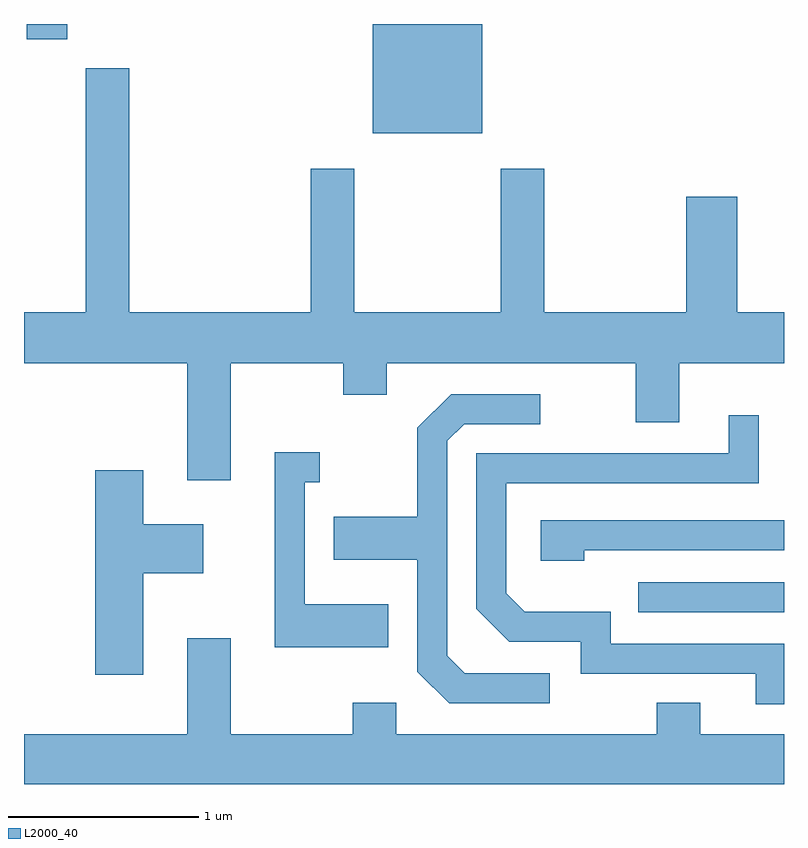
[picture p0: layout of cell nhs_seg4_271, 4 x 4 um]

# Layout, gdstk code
import gdstk
lib = gdstk.Library(unit=1e-6, precision=1e-09)
def R(c, l, rs):  # rectangles x0, y0, x1, y1
    for r in rs: c.add(gdstk.rectangle(r[:2], r[2:], *l))
def P(c, l, *ps):  # polygons
    for p in ps: c.add(gdstk.Polygon(p, *l))
L2000_40 = (2000, 40)

nhs_seg4_271 = lib.new_cell('nhs_seg4_271')
R(nhs_seg4_271, L2000_40, [(194.843,1388.886,195.611,1389.044), (193.446,1391.406,194.024,1391.982), (191.626,1391.901,191.839,1391.982)])
P(nhs_seg4_271, L2000_40, [(192.699,1390.196),(193.291,1390.196),(193.291,1390.031),(193.519,1390.031),(193.519,1390.196),(194.831,1390.196),(194.831,1389.886),(195.059,1389.886),(195.059,1390.196),(195.611,1390.196),(195.611,1390.464),(195.364,1390.464),(195.364,1391.074),(195.096,1391.074),(195.096,1390.464),(194.349,1390.464),(194.349,1391.219),(194.121,1391.219),(194.121,1390.464),(193.349,1390.464),(193.349,1391.219),(193.121,1391.219),(193.121,1390.464),(192.164,1390.464),(192.164,1391.749),(191.936,1391.749),(191.936,1390.464),(191.611,1390.464),(191.611,1390.196),(192.471,1390.196),(192.471,1389.581),(192.699,1389.581)],
  [(194.378,1388.564),(193.932,1388.564),(193.839,1388.657),(193.839,1389.789),(193.927,1389.876),(194.328,1389.876),(194.328,1390.034),(193.859,1390.034),(193.681,1389.857),(193.681,1389.389),(193.241,1389.389),(193.241,1389.161),(193.681,1389.161),(193.681,1388.574),(193.849,1388.406),(194.378,1388.406)],
  [(195.611,1388.719),(194.699,1388.719),(194.699,1388.889),(194.247,1388.889),(194.149,1388.987),(194.149,1389.566),(195.479,1389.566),(195.479,1389.923),(195.321,1389.923),(195.321,1389.724),(193.991,1389.724),(193.991,1388.904),(194.164,1388.731),(194.541,1388.731),(194.541,1388.561),(195.461,1388.561),(195.461,1388.401),(195.611,1388.401)],
  [(193.529,1388.929),(193.089,1388.929),(193.089,1389.571),(193.168,1389.571),(193.168,1389.729),(192.931,1389.729),(192.931,1388.701),(193.529,1388.701)],
  [(192.239,1389.091),(192.554,1389.091),(192.554,1389.349),(192.239,1389.349),(192.239,1389.634),(191.986,1389.634),(191.986,1388.556),(192.239,1388.556)],
  [(194.559,1389.211),(195.611,1389.211),(195.611,1389.369),(194.331,1389.369),(194.331,1389.156),(194.559,1389.156)],
  [(195.611,1388.244),(195.169,1388.244),(195.169,1388.409),(194.941,1388.409),(194.941,1388.244),(193.569,1388.244),(193.569,1388.409),(193.341,1388.409),(193.341,1388.244),(192.699,1388.244),(192.699,1388.749),(192.471,1388.749),(192.471,1388.244),(191.611,1388.244),(191.611,1387.982),(195.611,1387.982)])

lib.write_gds('nhs_seg4_271.gds')
